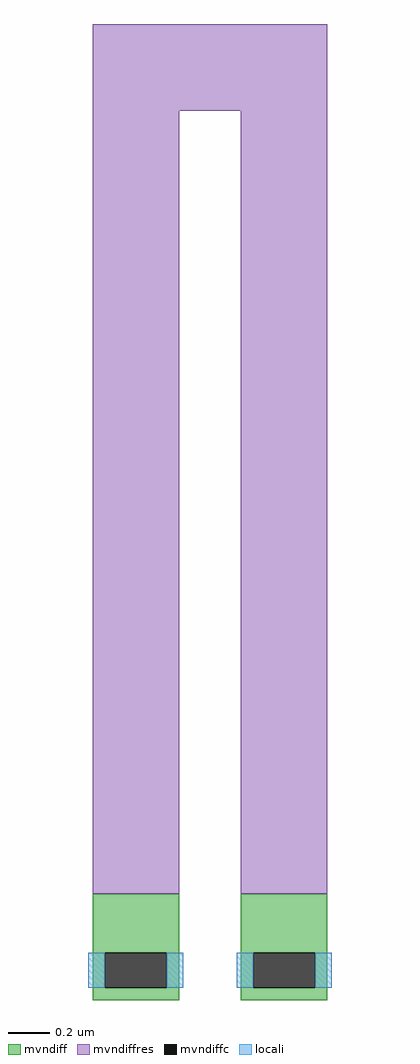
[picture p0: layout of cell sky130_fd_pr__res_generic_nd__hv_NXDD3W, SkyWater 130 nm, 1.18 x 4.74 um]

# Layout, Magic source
magic
tech sky130A
magscale 1 2
<< mvndiff >>
rect -114 -427 -30 -370
rect -114 -461 -102 -427
rect -42 -461 -30 -427
rect -114 -473 -30 -461
rect 30 -427 114 -370
rect 30 -461 42 -427
rect 102 -461 114 -427
rect 30 -473 114 -461
<< mvndiffc >>
rect -102 -461 -42 -427
rect 42 -461 102 -427
<< mvndiffres >>
rect -114 390 114 474
rect -114 -370 -30 390
rect 30 -370 114 390
<< locali >>
rect -118 -461 -102 -427
rect -42 -461 -26 -427
rect 26 -461 42 -427
rect 102 -461 118 -427
<< properties >>
string gencell sky130_fd_pr__res_generic_nd__hv
string library sky130
string parameters w 0.42 l 4 m 1 nx 2 wmin 0.42 lmin 2.10 rho 120 val 2.64k dummy 0 dw 0.02 term 0.0 sterm 0.0 caplen 0.4 snake 1 guard 0 glc 1 grc 1 gtc 1 gbc 1 roverlap 0 endcov 100 full_metal 1 vias 1 viagb 0 viagt 0 viagl 0 viagr 0
<< end >>
